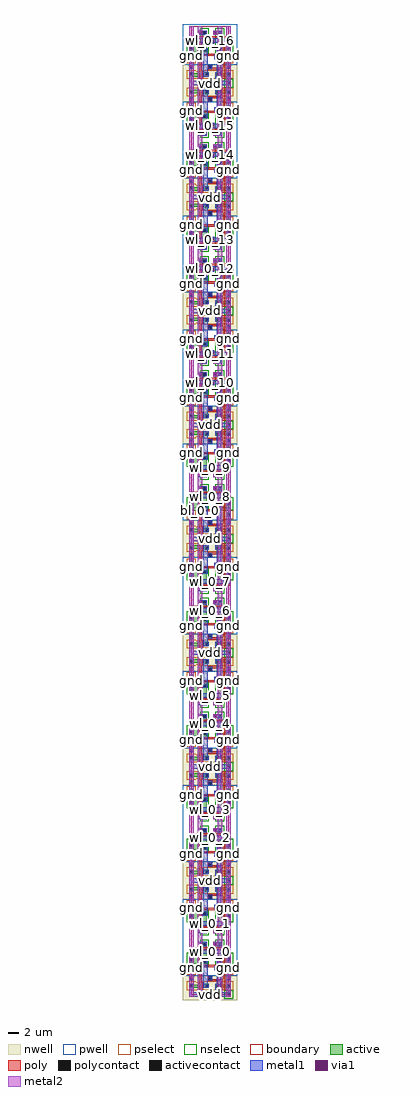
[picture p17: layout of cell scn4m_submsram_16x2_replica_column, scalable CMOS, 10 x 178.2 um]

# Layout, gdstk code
import gdstk
lib = gdstk.Library(unit=1e-6, precision=1e-09)
def R(c, l, rs):  # rectangles x0, y0, x1, y1
    for r in rs: c.add(gdstk.rectangle(r[:2], r[2:], *l))
def A(c, l, x, y, w, h, nx, ny, dx, dy):  # array of equal rectangles
    R(c, l, [(x+i*dx, y+j*dy, x+i*dx+w, y+j*dy+h) for i in range(nx) for j in range(ny)])
pwell = (41, 0)
nwell = (42, 0)
active = (43, 0)
pselect = (44, 0)
nselect = (45, 0)
poly = (46, 0)
polycontact = (47, 0)
activecontact = (48, 0)
metal1 = (49, 0)
via1 = (50, 0)
metal2 = (51, 0)
boundary = (63, 0)

replica_cell_1rw = lib.new_cell('replica_cell_1rw')
R(replica_cell_1rw, pwell, [(-1.6,-0.4,8.4,7)])
R(replica_cell_1rw, nwell, [(-1.6,7,8.4,11.4)])
A(replica_cell_1rw, active, 2.4, 8.4, 0.8, 0.2, 3, 1, 2, 0)
R(replica_cell_1rw, active, [(2,0.8,2.8,3.2), (4.8,0.8,5.6,3.2), (-0.4,3.2,2.8,4.8), (4.8,3.2,7.2,4.8), (-0.4,5.6,0.4,6.4), (6.4,5.6,7.2,6.4), (-0.4,8.4,0.4,8.6), (-0.4,8.6,3.2,9.2), (4.4,8.6,7.2,9.2), (6.4,10,7.2,10.8)])
R(replica_cell_1rw, pselect, [(-0.8,5.2,0.8,6.8), (6,5.2,7.6,6.8), (-0.8,8,0.8,8.2), (2,8,7.6,8.2), (-0.8,8.2,7.6,9.6)])
R(replica_cell_1rw, nselect, [(1.6,0.4,3.2,2.8), (4.4,0.4,6,2.8), (-0.8,2.8,3.2,5.2), (4.4,2.8,7.6,5.2), (6,9.6,7.6,11.2)])
R(replica_cell_1rw, poly, [(-0.4,1.8,7.2,2.2), (3.4,2.2,4.2,3.2), (1.4,2.8,1.8,5), (5.8,2.8,6.2,7.6), (1.4,5,4.8,5.2), (1.4,5.2,5,5.4), (1.4,5.4,1.8,8.2), (4.2,5.4,5,6), (3,7,3.8,7.6), (3,7.6,6.2,8), (5.4,8,6.2,9.6), (1.4,8.2,2.2,9.6)])
R(replica_cell_1rw, polycontact, [(3.6,2.6,4,3), (4.4,5.4,4.8,5.8), (3.2,7.2,3.6,7.6)])
A(replica_cell_1rw, activecontact, 2.6, 8.6, 0.4, 0.4, 3, 1, 2, 0)
R(replica_cell_1rw, activecontact, [(2.2,1,2.6,1.4), (5,1,5.4,1.4), (-0.2,3.8,0.2,4.2), (6.6,3.8,7,4.2), (2.2,4.2,2.6,4.6), (5,4.2,5.4,4.6), (-0.2,5.8,0.2,6.2), (6.6,5.8,7,6.2), (-0.2,8.6,0.2,9), (6.6,10.2,7,10.6)])
R(replica_cell_1rw, metal1, [(1.2,0.8,2.8,1.6), (4,0.8,5.6,1.6), (-0.4,2.2,7.2,3), (-0.4,2.2,7.2,3), (3.4,3,4.2,3.2), (-0.4,3.6,0.4,7.8), (6.4,3.6,7.2,7.8), (2,4,3,4.8), (4.6,4,5.6,4.8), (2.2,4.8,3,7), (4.6,4.8,5.4,5.2), (4.2,5.2,5.4,6), (4.6,6,5.4,8.4), (2.2,7,3.8,7.8), (2.2,7.8,3,8.4), (-0.4,8.4,0.4,10), (2.2,8.4,3.2,9.2), (4.4,8.4,5.4,9.2), (6.4,8.4,7.2,10), (4.4,9.2,5.2,10), (-0.4,10,7.2,10.8), (-0.4,10,7.2,10.8)])
R(replica_cell_1rw, via1, [(1.4,1,1.8,1.4), (4.2,1,4.6,1.4), (-0.2,7.2,0.2,7.6), (6.6,7.2,7,7.6)])
R(replica_cell_1rw, metal2, [(-0.4,0,0.4,10.8), (-0.4,0,0.4,10.8), (1.2,0,2,10.8), (1.2,0,2,10.8), (4.8,0,5.6,0.8), (6.4,0,7.2,10.8), (6.4,0,7.2,10.8), (4,0.8,5.6,1.6), (4.8,1.6,5.6,10.8), (4.8,1.6,5.6,10.8)])
R(replica_cell_1rw, boundary, [(0,0,6.8,10.4)])
replica_cell_1rw.add(gdstk.Label('vdd', (3.45,10.4), layer=49, texttype=0))
replica_cell_1rw.add(gdstk.Label('wl', (0.8,2.6), layer=49, texttype=0))
replica_cell_1rw.add(gdstk.Label('Q', (3.4,7.4), layer=49, texttype=0))
replica_cell_1rw.add(gdstk.Label('gnd', (0,1.2), layer=51, texttype=0))
replica_cell_1rw.add(gdstk.Label('gnd', (6.8,1.2), layer=51, texttype=0))
replica_cell_1rw.add(gdstk.Label('bl', (1.6,9.8), layer=51, texttype=0))
replica_cell_1rw.add(gdstk.Label('br', (5.2,9.8), layer=51, texttype=0))
replica_cell_1rw.add(gdstk.Label('bl', (1.6,5.4), layer=51, texttype=0))
replica_cell_1rw.add(gdstk.Label('br', (5.2,6.2), layer=51, texttype=0))
replica_cell_1rw.add(gdstk.Label('wl', (3.4,2.6), layer=49, texttype=0))
replica_cell_1rw.add(gdstk.Label('vdd', (3.4,10.4), layer=49, texttype=0))
replica_cell_1rw.add(gdstk.Label('gnd', (0,5.4), layer=51, texttype=0))
replica_cell_1rw.add(gdstk.Label('gnd', (6.8,5.4), layer=51, texttype=0))

scn4m_submsram_16x2_repl = lib.new_cell('scn4m_submsram_16x2_replica_column')
A(scn4m_submsram_16x2_repl, metal1, -0.4, -0.4, 7.6, 0.8, 1, 9, 0, 20.8)
R(scn4m_submsram_16x2_repl, metal1, [(0,7.4,6.8,8.2), (0,12.6,6.8,13.4), (0,28.2,6.8,29), (0,33.4,6.8,34.2), (0,49,6.8,49.8), (0,54.2,6.8,55), (0,69.8,6.8,70.6), (0,75,6.8,75.8), (0,90.6,6.8,91.4), (0,95.8,6.8,96.6), (0,111.4,6.8,112.2), (0,116.6,6.8,117.4), (0,132.2,6.8,133), (0,137.4,6.8,138.2), (0,153,6.8,153.8), (0,158.2,6.8,159), (0,173.8,6.8,174.6)])
R(scn4m_submsram_16x2_repl, metal2, [(-0.4,-0.4,0.4,10.4), (6.4,-0.4,7.2,10.4), (1.2,0,2,176.8), (4.8,0,5.6,176.8), (-0.4,10.4,0.4,21.2), (6.4,10.4,7.2,21.2), (-0.4,20.4,0.4,31.2), (6.4,20.4,7.2,31.2), (-0.4,31.2,0.4,42), (6.4,31.2,7.2,42), (-0.4,41.2,0.4,52), (6.4,41.2,7.2,52), (-0.4,52,0.4,62.8), (6.4,52,7.2,62.8), (-0.4,62,0.4,72.8), (6.4,62,7.2,72.8), (-0.4,72.8,0.4,83.6), (6.4,72.8,7.2,83.6), (-0.4,82.8,0.4,93.6), (6.4,82.8,7.2,93.6), (-0.4,93.6,0.4,104.4), (6.4,93.6,7.2,104.4), (-0.4,103.6,0.4,114.4), (6.4,103.6,7.2,114.4), (-0.4,114.4,0.4,125.2), (6.4,114.4,7.2,125.2), (-0.4,124.4,0.4,135.2), (6.4,124.4,7.2,135.2), (-0.4,135.2,0.4,146), (6.4,135.2,7.2,146), (-0.4,145.2,0.4,156), (6.4,145.2,7.2,156), (-0.4,156,0.4,166.8), (6.4,156,7.2,166.8), (-0.4,166,0.4,176.8), (6.4,166,7.2,176.8)])
R(scn4m_submsram_16x2_repl, boundary, [(0,0,6.8,176.8)])
scn4m_submsram_16x2_repl.add(gdstk.Reference(replica_cell_1rw, (0,10.4), x_reflection=True))
scn4m_submsram_16x2_repl.add(gdstk.Reference(replica_cell_1rw, (0,10.4)))
scn4m_submsram_16x2_repl.add(gdstk.Reference(replica_cell_1rw, (0,31.2), x_reflection=True))
scn4m_submsram_16x2_repl.add(gdstk.Reference(replica_cell_1rw, (0,31.2)))
scn4m_submsram_16x2_repl.add(gdstk.Reference(replica_cell_1rw, (0,52), x_reflection=True))
scn4m_submsram_16x2_repl.add(gdstk.Reference(replica_cell_1rw, (0,52)))
scn4m_submsram_16x2_repl.add(gdstk.Reference(replica_cell_1rw, (0,72.8), x_reflection=True))
scn4m_submsram_16x2_repl.add(gdstk.Reference(replica_cell_1rw, (0,72.8)))
scn4m_submsram_16x2_repl.add(gdstk.Reference(replica_cell_1rw, (0,93.6), x_reflection=True))
scn4m_submsram_16x2_repl.add(gdstk.Reference(replica_cell_1rw, (0,93.6)))
scn4m_submsram_16x2_repl.add(gdstk.Reference(replica_cell_1rw, (0,114.4), x_reflection=True))
scn4m_submsram_16x2_repl.add(gdstk.Reference(replica_cell_1rw, (0,114.4)))
scn4m_submsram_16x2_repl.add(gdstk.Reference(replica_cell_1rw, (0,135.2), x_reflection=True))
scn4m_submsram_16x2_repl.add(gdstk.Reference(replica_cell_1rw, (0,135.2)))
scn4m_submsram_16x2_repl.add(gdstk.Reference(replica_cell_1rw, (0,156), x_reflection=True))
scn4m_submsram_16x2_repl.add(gdstk.Reference(replica_cell_1rw, (0,156)))
scn4m_submsram_16x2_repl.add(gdstk.Reference(replica_cell_1rw, (0,176.8), x_reflection=True))
scn4m_submsram_16x2_repl.add(gdstk.Label('bl_0_0', (1.6,88.4), layer=51, texttype=0))
scn4m_submsram_16x2_repl.add(gdstk.Label('br_0_0', (5.2,88.4), layer=51, texttype=0))
scn4m_submsram_16x2_repl.add(gdstk.Label('wl_0_0', (3.4,7.8), layer=49, texttype=0))
scn4m_submsram_16x2_repl.add(gdstk.Label('wl_0_1', (3.4,13), layer=49, texttype=0))
scn4m_submsram_16x2_repl.add(gdstk.Label('wl_0_2', (3.4,28.6), layer=49, texttype=0))
scn4m_submsram_16x2_repl.add(gdstk.Label('wl_0_3', (3.4,33.8), layer=49, texttype=0))
scn4m_submsram_16x2_repl.add(gdstk.Label('wl_0_4', (3.4,49.4), layer=49, texttype=0))
scn4m_submsram_16x2_repl.add(gdstk.Label('wl_0_5', (3.4,54.6), layer=49, texttype=0))
scn4m_submsram_16x2_repl.add(gdstk.Label('wl_0_6', (3.4,70.2), layer=49, texttype=0))
scn4m_submsram_16x2_repl.add(gdstk.Label('wl_0_7', (3.4,75.4), layer=49, texttype=0))
scn4m_submsram_16x2_repl.add(gdstk.Label('wl_0_8', (3.4,91), layer=49, texttype=0))
scn4m_submsram_16x2_repl.add(gdstk.Label('wl_0_9', (3.4,96.2), layer=49, texttype=0))
scn4m_submsram_16x2_repl.add(gdstk.Label('wl_0_10', (3.4,111.8), layer=49, texttype=0))
scn4m_submsram_16x2_repl.add(gdstk.Label('wl_0_11', (3.4,117), layer=49, texttype=0))
scn4m_submsram_16x2_repl.add(gdstk.Label('wl_0_12', (3.4,132.6), layer=49, texttype=0))
scn4m_submsram_16x2_repl.add(gdstk.Label('wl_0_13', (3.4,137.8), layer=49, texttype=0))
scn4m_submsram_16x2_repl.add(gdstk.Label('wl_0_14', (3.4,153.4), layer=49, texttype=0))
scn4m_submsram_16x2_repl.add(gdstk.Label('wl_0_15', (3.4,158.6), layer=49, texttype=0))
scn4m_submsram_16x2_repl.add(gdstk.Label('wl_0_16', (3.4,174.2), layer=49, texttype=0))
scn4m_submsram_16x2_repl.add(gdstk.Label('vdd', (3.4,41.6), layer=49, texttype=0))
scn4m_submsram_16x2_repl.add(gdstk.Label('vdd', (3.4,20.8), layer=49, texttype=0))
scn4m_submsram_16x2_repl.add(gdstk.Label('vdd', (3.4,83.2), layer=49, texttype=0))
scn4m_submsram_16x2_repl.add(gdstk.Label('vdd', (3.4,145.6), layer=49, texttype=0))
scn4m_submsram_16x2_repl.add(gdstk.Label('vdd', (3.4,62.4), layer=49, texttype=0))
scn4m_submsram_16x2_repl.add(gdstk.Label('vdd', (3.4,104), layer=49, texttype=0))
scn4m_submsram_16x2_repl.add(gdstk.Label('vdd', (3.4,124.8), layer=49, texttype=0))
scn4m_submsram_16x2_repl.add(gdstk.Label('vdd', (3.4,0), layer=49, texttype=0))
scn4m_submsram_16x2_repl.add(gdstk.Label('vdd', (3.4,166.4), layer=49, texttype=0))
scn4m_submsram_16x2_repl.add(gdstk.Label('gnd', (0,99), layer=51, texttype=0))
scn4m_submsram_16x2_repl.add(gdstk.Label('gnd', (6.8,171.4), layer=51, texttype=0))
scn4m_submsram_16x2_repl.add(gdstk.Label('gnd', (6.8,140.6), layer=51, texttype=0))
scn4m_submsram_16x2_repl.add(gdstk.Label('gnd', (6.8,36.6), layer=51, texttype=0))
scn4m_submsram_16x2_repl.add(gdstk.Label('gnd', (0,5), layer=51, texttype=0))
scn4m_submsram_16x2_repl.add(gdstk.Label('gnd', (6.8,109), layer=51, texttype=0))
scn4m_submsram_16x2_repl.add(gdstk.Label('gnd', (0,150.6), layer=51, texttype=0))
scn4m_submsram_16x2_repl.add(gdstk.Label('gnd', (0,67.4), layer=51, texttype=0))
scn4m_submsram_16x2_repl.add(gdstk.Label('gnd', (0,171.4), layer=51, texttype=0))
scn4m_submsram_16x2_repl.add(gdstk.Label('gnd', (6.8,119.8), layer=51, texttype=0))
scn4m_submsram_16x2_repl.add(gdstk.Label('gnd', (0,129.8), layer=51, texttype=0))
scn4m_submsram_16x2_repl.add(gdstk.Label('gnd', (6.8,25.8), layer=51, texttype=0))
scn4m_submsram_16x2_repl.add(gdstk.Label('gnd', (6.8,67.4), layer=51, texttype=0))
scn4m_submsram_16x2_repl.add(gdstk.Label('gnd', (0,78.2), layer=51, texttype=0))
scn4m_submsram_16x2_repl.add(gdstk.Label('gnd', (0,15.8), layer=51, texttype=0))
scn4m_submsram_16x2_repl.add(gdstk.Label('gnd', (0,88.2), layer=51, texttype=0))
scn4m_submsram_16x2_repl.add(gdstk.Label('gnd', (6.8,88.2), layer=51, texttype=0))
scn4m_submsram_16x2_repl.add(gdstk.Label('gnd', (6.8,15.8), layer=51, texttype=0))
scn4m_submsram_16x2_repl.add(gdstk.Label('gnd', (0,119.8), layer=51, texttype=0))
scn4m_submsram_16x2_repl.add(gdstk.Label('gnd', (0,161.4), layer=51, texttype=0))
scn4m_submsram_16x2_repl.add(gdstk.Label('gnd', (0,109), layer=51, texttype=0))
scn4m_submsram_16x2_repl.add(gdstk.Label('gnd', (6.8,46.6), layer=51, texttype=0))
scn4m_submsram_16x2_repl.add(gdstk.Label('gnd', (0,25.8), layer=51, texttype=0))
scn4m_submsram_16x2_repl.add(gdstk.Label('gnd', (6.8,5), layer=51, texttype=0))
scn4m_submsram_16x2_repl.add(gdstk.Label('gnd', (0,57.4), layer=51, texttype=0))
scn4m_submsram_16x2_repl.add(gdstk.Label('gnd', (6.8,78.2), layer=51, texttype=0))
scn4m_submsram_16x2_repl.add(gdstk.Label('gnd', (6.8,150.6), layer=51, texttype=0))
scn4m_submsram_16x2_repl.add(gdstk.Label('gnd', (6.8,161.4), layer=51, texttype=0))
scn4m_submsram_16x2_repl.add(gdstk.Label('gnd', (0,140.6), layer=51, texttype=0))
scn4m_submsram_16x2_repl.add(gdstk.Label('gnd', (0,46.6), layer=51, texttype=0))
scn4m_submsram_16x2_repl.add(gdstk.Label('gnd', (6.8,99), layer=51, texttype=0))
scn4m_submsram_16x2_repl.add(gdstk.Label('gnd', (6.8,57.4), layer=51, texttype=0))
scn4m_submsram_16x2_repl.add(gdstk.Label('gnd', (0,36.6), layer=51, texttype=0))
scn4m_submsram_16x2_repl.add(gdstk.Label('gnd', (6.8,129.8), layer=51, texttype=0))

lib.write_gds('scn4m_submsram_16x2_replica_column.gds')
